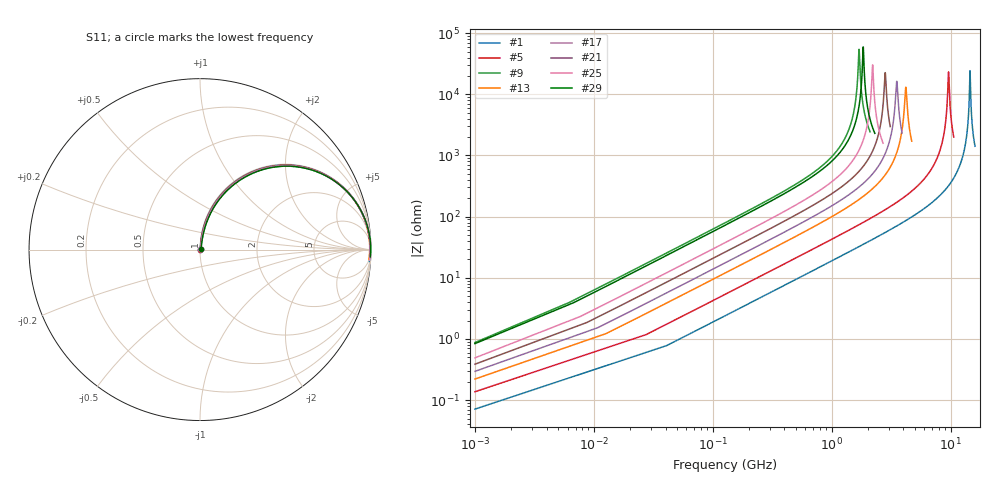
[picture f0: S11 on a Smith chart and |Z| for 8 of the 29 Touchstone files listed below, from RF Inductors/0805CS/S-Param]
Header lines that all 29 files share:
! 11 June 2002
# MHZ S MA R 50
!Freq  MagS11  AngS11  MagS21  AngS21  MagS12  AngS12  MagS22  AngS22
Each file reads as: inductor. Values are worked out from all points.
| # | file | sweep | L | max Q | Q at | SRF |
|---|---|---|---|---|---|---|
| 1 | 08CS3N0.S2P | 1 MHz to 16 GHz | 3 nH | 119 | 5.587 GHz | 14.52 GHz |
| 2 | 08CS020.S2P | 1 MHz to 17.2 GHz | 2.75 nH | 158 | 6.392 GHz | 15.53 GHz |
| 3 | 08CS030.S2P | 1 MHz to 14.9 GHz | 3.3 nH | 91.5 | 5.091 GHz | 13.49 GHz |
| 4 | 08CS050.S2P | 1 MHz to 10.4 GHz | 5.66 nH | 114 | 3.372 GHz | 9.362 GHz |
| 5 | 08CS060.S2P | 1 MHz to 10.6 GHz | 6.72 nH | 91.8 | 3.543 GHz | 9.569 GHz |
| 6 | 08CS070.S2P | 1 MHz to 7.9 GHz | 7.65 nH | 81.8 | 2.641 GHz | 7.132 GHz |
| 7 | 08CS080.S2P | 1 MHz to 7.1 GHz | 8.05 nH | 76.4 | 2.231 GHz | 6.426 GHz |
| 8 | 08CS100.S2P | 1 MHz to 8.1 GHz | 10.1 nH | 137 | 2.506 GHz | 7.293 GHz |
| 9 | 08CS101.S2P | 1 MHz to 2.1 GHz | 99.1 nH | 74.8 | 644.3 MHz | 1.69 GHz |
| 10 | 08CS111.S2P | 1 MHz to 1.8 GHz | 109 nH | 76.6 | 544.3 MHz | 1.46 GHz |
| 11 | 08CS120.S2P | 1 MHz to 7.1 GHz | 12 nH | 103 | 2.072 GHz | 6.426 GHz |
| 12 | 08CS121.S2P | 1 MHz to 1.8 GHz | 119 nH | 75 | 553.3 MHz | 1.496 GHz |
| 13 | 08CS150.S2P | 1 MHz to 4.7 GHz | 15 nH | 84 | 1.407 GHz | 4.185 GHz |
| 14 | 08CS151.S2P | 1 MHz to 1.5 GHz | 149 nH | 65.8 | 449.8 MHz | 1.243 GHz |
| 15 | 08CS180.S2P | 1 MHz to 5.4 GHz | 18 nH | 92.7 | 1.71 GHz | 4.874 GHz |
| 16 | 08CS181.S2P | 1 MHz to 1.6 GHz | 178 nH | 66.7 | 487.8 MHz | 1.254 GHz |
| 17 | 08CS220.S2P | 1 MHz to 3.9 GHz | 22 nH | 82.4 | 1.197 GHz | 3.51 GHz |
| 18 | 08CS221.S2P | 1 MHz to 1.5 GHz | 215 nH | 62.5 | 438.6 MHz | 1.168 GHz |
| 19 | 08CS240.S2P | 1 MHz to 3.5 GHz | 24 nH | 71.7 | 1.066 GHz | 3.091 GHz |
| 20 | 08CS270.S2P | 1 MHz to 4.2 GHz | 27 nH | 86 | 1.278 GHz | 3.739 GHz |
| 21 | 08CS330.S2P | 1 MHz to 3.1 GHz | 33 nH | 82.2 | 990.4 MHz | 2.807 GHz |
| 22 | 08CS360.S2P | 1 MHz to 2.7 GHz | 36 nH | 70.4 | 822.1 MHz | 2.363 GHz |
| 23 | 08CS390.S2P | 1 MHz to 3.4 GHz | 39 nH | 82.9 | 993.2 MHz | 2.808 GHz |
| 24 | 08CS430.S2P | 1 MHz to 3.2 GHz | 43 nH | 79.9 | 926.7 MHz | 2.642 GHz |
| 25 | 08CS470.S2P | 1 MHz to 2.7 GHz | 47 nH | 74.5 | 822.1 MHz | 2.202 GHz |
| 26 | 08CS560.S2P | 1 MHz to 2.7 GHz | 56 nH | 73 | 808.6 MHz | 2.188 GHz |
| 27 | 08CS680.S2P | 1 MHz to 2.5 GHz | 67.5 nH | 73.2 | 786 MHz | 2.063 GHz |
| 28 | 08CS820.S2P | 1 MHz to 2.3 GHz | 81.4 nH | 74.4 | 700.1 MHz | 1.88 GHz |
| 29 | 08CS910.S2P | 1 MHz to 2.3 GHz | 90.4 nH | 79 | 711.5 MHz | 1.835 GHz |
